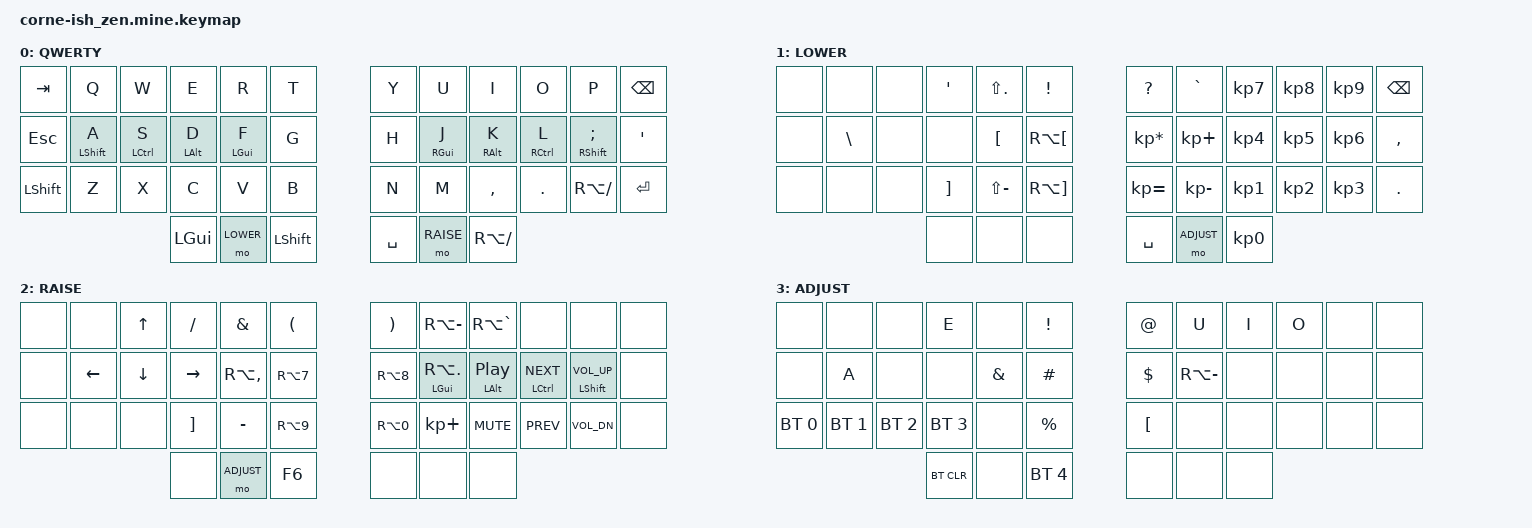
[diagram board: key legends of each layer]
/*
*
* Copyright (c) 2021 lowprokb.ca
* SPDX-License-Identifier: MIT
*
*/

#include <behaviors.dtsi>
#include <dt-bindings/zmk/keys.h>
#include <dt-bindings/zmk/bt.h>

#define QWERTY 0
#define LOWER 1
#define RAISE 2
#define ADJUST 3

/ {
        behaviors {
            hm: homerow_mods {
                compatible = "zmk,behavior-hold-tap";
                label = "HOMEROW_MODS";
                #binding-cells = <2>;
                tapping-term-ms = <150>;
                quick_tap_ms = <0>;
                flavor = "tap-preferred";
                bindings = <&kp>, <&kp>;
            };
        };
        keymap {
                compatible = "zmk,keymap";

                default_layer {
                        label = "QWERTY";
                        bindings = <
   &kp TAB   &kp Q       &kp W       &kp E      &kp R      &kp T        &kp Y   &kp U      &kp I        &kp O       &kp P          &kp BKSP
   &kp ESC   &hm LSHFT A &hm LCTRL S &hm LALT D &hm LGUI F &kp G        &kp H   &hm RGUI J &hm RALT K   &hm RCTRL L &hm RSHFT SEMI &kp QUOT
   &kp LSHFT &kp Z       &kp X       &kp C      &kp V      &kp B        &kp N   &kp M      &kp COMMA    &kp DOT     &kp RA(FSLH)   &kp ENTER
                                     &kp LGUI   &mo LOWER  &kp LSHFT    &kp SPC &mo RAISE  &kp RA(FSLH)
                        >;
                };

                lower_layer {
                        label = "LOWER";
                        bindings = <
   &none &none    &none &kp QUOT &kp LS(DOT)   &kp EXCL        &kp QMARK       &kp GRAVE    &kp KP_N7 &kp KP_N8 &kp KP_N9 &kp BSPC
   &none &kp BSLH &none &none    &kp LBKT      &kp RA(LBKT)    &kp KP_ASTERISK &kp KP_PLUS  &kp KP_N4 &kp KP_N5 &kp KP_N6 &kp CMMA
   &none &none    &none &kp RBKT &kp LS(MINUS) &kp RA(RBKT)    &kp KP_EQUAL    &kp KP_MINUS &kp KP_N1 &kp KP_N2 &kp KP_N3 &kp DOT
                        &none    &none         &none           &kp SPC         &mo ADJUST   &kp KP_N0
                        >;
                };

                raise_layer {
                        label = "RAISE";
                        bindings = <
   &none &none    &kp UP   &kp FSLH  &kp AMPS      &kp LPAR      &kp RPAR   &kp RA(MINUS)    &kp RA(GRAVE) &none            &none              &none
   &none &kp LEFT &kp DOWN &kp RIGHT &kp RA(COMMA) &kp RA(N7)    &kp RA(N8) &hm LGUI RA(DOT) &hm LALT C_PP &hm LCTRL C_NEXT &hm LSHFT C_VOL_UP &none
   &none &none    &none    &kp RBKT  &kp MINUS     &kp RA(N9)    &kp RA(N0) &kp KP_PLUS      &kp K_MUTE    &kp C_PREV       &kp C_VOL_DN       &none
                           &none     &mo ADJUST    &kp F6        &none      &none            &none
                        >;
                };

                adjust_layer {
                        label = "ADJUST";
                        bindings = <
   &none        &none        &none        &kp E        &none    &kp EXCL        &kp AT   &kp U         &kp I &kp O &none &none
   &none        &kp A        &none        &none        &kp AMPS &kp HASH        &kp DLLR &kp RA(MINUS) &none &none &none &none
   &bt BT_SEL 0 &bt BT_SEL 1 &bt BT_SEL 2 &bt BT_SEL 3 &none    &kp PRCNT       &kp LBKT &none         &none &none &none &none
                                          &bt BT_CLR   &none    &bt BT_SEL 4    &none    &none         &none
                        >;
                };

        };
};
